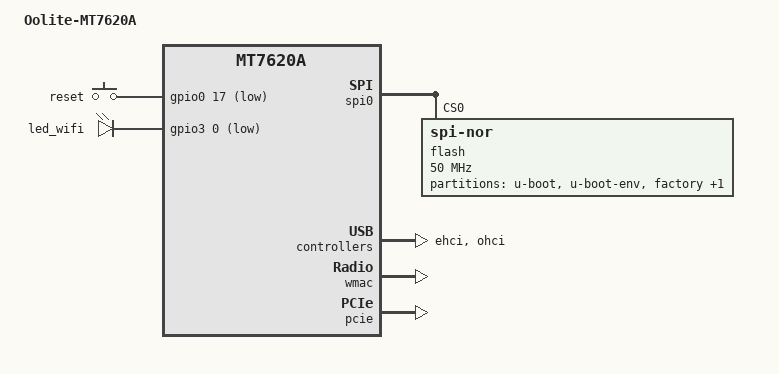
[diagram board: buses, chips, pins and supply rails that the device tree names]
#include "mt7620a.dtsi"

#include <dt-bindings/gpio/gpio.h>
#include <dt-bindings/input/input.h>

/ {
	compatible = "oolite,mt7620a", "ralink,mt7620a-soc";
	model = "Oolite-MT7620A";

	aliases {
		led-boot = &led_system;
		led-failsafe = &led_system;
		led-running = &led_system;
		led-upgrade = &led_system;
	};

	keys {
		compatible = "gpio-keys";

		reset {
			label = "reset";
			gpios = <&gpio0 17 GPIO_ACTIVE_LOW>;
			linux,code = <KEY_RESTART>;
		};
	};

	leds {
		compatible = "gpio-leds";

		led_system: led_wifi {
			label = "led_wifi";
			gpios = <&gpio3 0 GPIO_ACTIVE_LOW>;
			linux,default-trigger = "phy1tpt";
		};
	};
};

&spi0 {
	status = "okay";

	flash@0 {
		compatible = "jedec,spi-nor";
		reg = <0>;

		spi-max-frequency = <50000000>;
		m25p,fast-read;

		partitions {
			compatible = "fixed-partitions";
			#address-cells = <1>;
			#size-cells = <1>;

			partition@0 {
				label = "u-boot";
				reg = <0x0 0x30000>;
				read-only;
			};

			partition@30000 {
				label = "u-boot-env";
				reg = <0x30000 0x10000>;
				read-only;
			};

			factory: partition@40000 {
				label = "factory";
				reg = <0x40000 0x10000>;
				read-only;
			};

			partition@50000 {
				compatible = "denx,uimage";
				label = "firmware";
				reg = <0x50000 0x0>;
			};
		};
	};
};

&ehci {
	status = "okay";
};

&ohci {
	status = "okay";
};

&gpio2 {
	status = "okay";
};

&gpio3 {
	status = "okay";
};

&state_default {
	gpio {
		groups = "wled", "wdt";
		function = "gpio";
	};
};

&ethernet {
	nvmem-cells = <&macaddr_factory_28>;
	nvmem-cell-names = "mac-address";

	mediatek,portmap = "wllll";
};

&wmac {
	ralink,mtd-eeprom = <&factory 0x0>;
};

&pcie {
	status = "okay";
};

&factory {
	compatible = "nvmem-cells";
	#address-cells = <1>;
	#size-cells = <1>;

	macaddr_factory_28: macaddr@28 {
		reg = <0x28 0x6>;
	};
};
